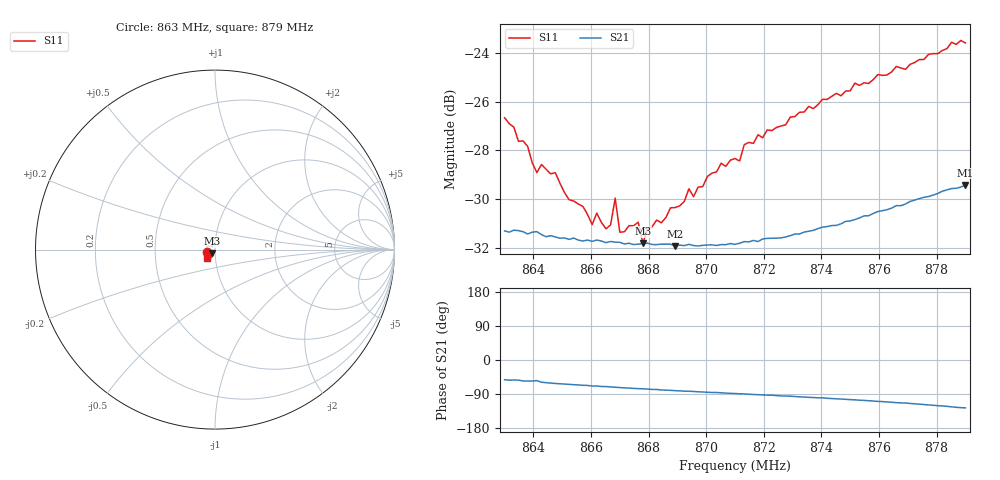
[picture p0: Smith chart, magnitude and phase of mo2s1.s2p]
# HZ S RI R 50
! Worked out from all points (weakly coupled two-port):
!   101 points, 863 MHz to 879 MHz, reference 50 ohm
!   highest |S21| = -29.43 dB at 879 MHz (marker M1); lowest = -31.9 dB at 868.92 MHz (marker M2)
!   lowest |S11| = -31.8 dB at 867.8 MHz (marker M3), VSWR 1.05, Z = 48.3 - j1.89 ohm
!   |S11| at or under -10 dB: start of sweep to end of sweep
!   S12 and S22 are empty: the file has one direction only
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8.63e8  -0.0442 -0.0142  0.0167 -0.0214  0 0  0 0
8.638e8  -0.0381 -0.014  0.0152 -0.0221  0 0  0 0
8.6412e8  -0.0334 -0.0129  0.0158 -0.022  0 0  0 0
8.6476e8  -0.0334 -0.0129  0.0124 -0.0233  0 0  0 0
8.6524e8  -0.0287 -0.0129  0.0113 -0.0235  0 0  0 0
8.6572e8  -0.0266 -0.015  0.0102 -0.0238  0 0  0 0
8.6604e8  -0.0239 -0.0146  0.00943 -0.0241  0 0  0 0
8.662e8  -0.0253 -0.0153  0.00952 -0.0242  0 0  0 0
8.6652e8  -0.0218 -0.0167  0.00877 -0.0242  0 0  0 0
8.6668e8  -0.0221 -0.0171  0.00841 -0.0245  0 0  0 0
8.6684e8  -0.024 -0.0207  0.00805 -0.0245  0 0  0 0
8.67e8  -0.0205 -0.0176  0.00767 -0.0246  0 0  0 0
8.6764e8  -0.019 -0.021  0.00639 -0.0247  0 0  0 0
8.678e8  -0.0166 -0.0196  0.00615 -0.0249  0 0  0 0
8.6796e8  -0.0169 -0.0216  0.00596 -0.025  0 0  0 0
8.6844e8  -0.0151 -0.0239  0.00483 -0.0251  0 0  0 0
8.6892e8  -0.0148 -0.0265  0.004 -0.025  0 0  0 0
8.71e8  -0.0158 -0.0349  0.000676 -0.0255  0 0  0 0
8.718e8  -0.0179 -0.0389  -0.000682 -0.0258  0 0  0 0
8.7372e8  -0.0214 -0.0435  -0.0043 -0.0269  0 0  0 0
8.7644e8  -0.0331 -0.0473  -0.0111 -0.0282  0 0  0 0
8.79e8  -0.0463 -0.0473  -0.02 -0.0272  0 0  0 0
